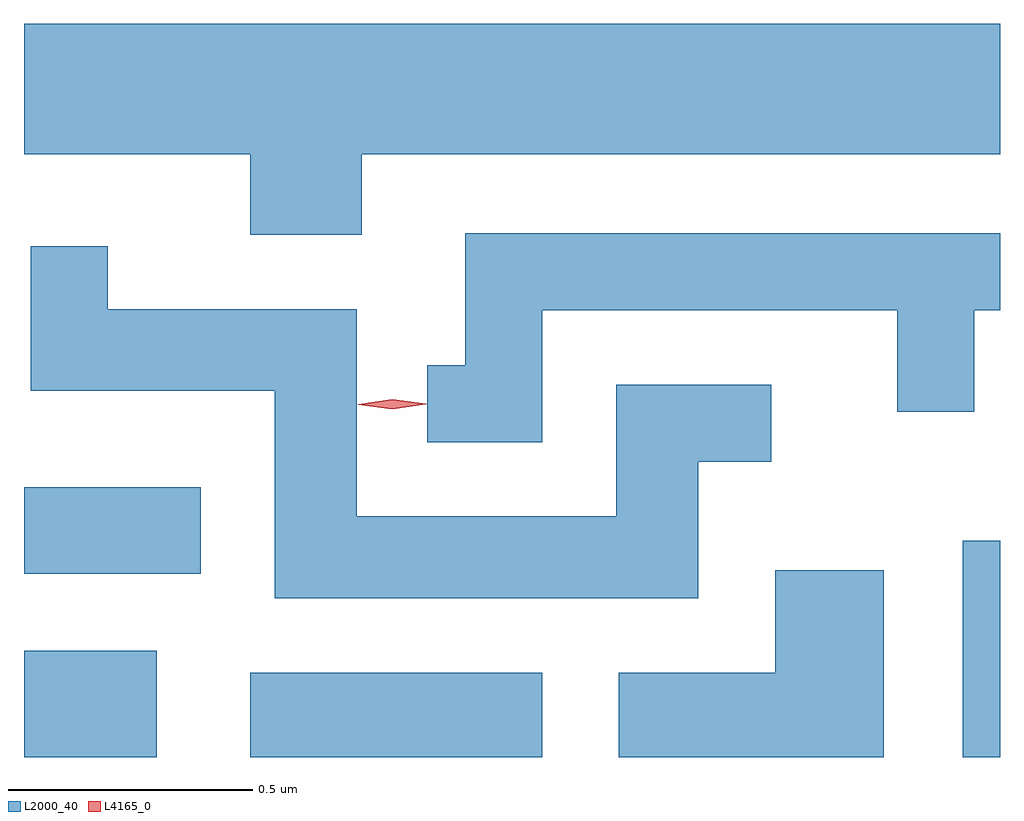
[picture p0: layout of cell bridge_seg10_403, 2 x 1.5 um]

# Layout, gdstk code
import gdstk
lib = gdstk.Library(unit=1e-6, precision=1e-09)
def R(c, l, rs):  # rectangles x0, y0, x1, y1
    for r in rs: c.add(gdstk.rectangle(r[:2], r[2:], *l))
def P(c, l, *ps):  # polygons
    for p in ps: c.add(gdstk.Polygon(p, *l))
L2000_40 = (2000, 40)
L4165_0 = (4165, 0)

bridge_seg10_403 = lib.new_cell('bridge_seg10_403')
R(bridge_seg10_403, L2000_40, [(1065.787,2090.48,1066.059,2090.699), (1066.251,2090.48,1066.849,2090.654), (1067.711,2090.48,1067.787,2090.924), (1065.787,2090.856,1066.149,2091.034)])
P(bridge_seg10_403, L2000_40, [(1066.479,2091.716),(1067.787,2091.716),(1067.787,2091.984),(1065.787,2091.984),(1065.787,2091.716),(1066.251,2091.716),(1066.251,2091.551),(1066.479,2091.551)],
  [(1066.849,2091.396),(1067.576,2091.396),(1067.576,2091.188),(1067.734,2091.188),(1067.734,2091.396),(1067.787,2091.396),(1067.787,2091.554),(1066.691,2091.554),(1066.691,2091.284),(1066.613,2091.284),(1066.613,2091.126),(1066.849,2091.126)],
  [(1067.169,2091.086),(1067.318,2091.086),(1067.318,2091.244),(1067.001,2091.244),(1067.001,2090.974),(1066.469,2090.974),(1066.469,2091.399),(1065.959,2091.399),(1065.959,2091.528),(1065.801,2091.528),(1065.801,2091.231),(1066.301,2091.231),(1066.301,2090.806),(1067.169,2090.806)],
  [(1067.549,2090.864),(1067.326,2090.864),(1067.326,2090.654),(1067.006,2090.654),(1067.006,2090.48),(1067.549,2090.48)])
P(bridge_seg10_403, L4165_0, [(1066.542,2091.194),(1066.472,2091.203),(1066.472,2091.204),(1066.472,2091.204),(1066.542,2091.214),(1066.611,2091.205),(1066.611,2091.205),(1066.611,2091.204)])

lib.write_gds('bridge_seg10_403.gds')
